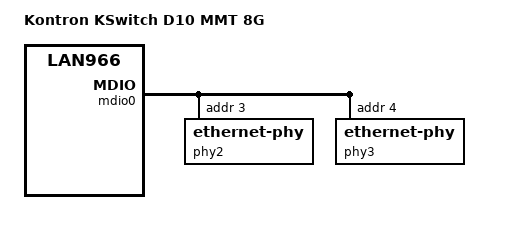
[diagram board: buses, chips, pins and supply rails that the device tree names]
// SPDX-License-Identifier: (GPL-2.0+ OR MIT)
/*
 * Device Tree file for the Kontron KSwitch D10 MMT 8G
 */

/dts-v1/;
#include "lan966x-kontron-kswitch-d10-mmt.dtsi"

/ {
	model = "Kontron KSwitch D10 MMT 8G";
	compatible = "kontron,kswitch-d10-mmt-8g", "kontron,s1921",
		     "microchip,lan9668", "microchip,lan966";
};

&mdio0 {
	phy2: ethernet-phy@3 {
		reg = <3>;
	};

	phy3: ethernet-phy@4 {
		reg = <4>;
	};
};

&port2 {
	phys = <&serdes 2 SERDES6G(0)>;
	phy-handle = <&phy2>;
	phy-mode = "sgmii";
	managed = "in-band-status";
	status = "okay";
};

&port3 {
	phys = <&serdes 3 SERDES6G(1)>;
	phy-handle = <&phy3>;
	phy-mode = "sgmii";
	managed = "in-band-status";
	status = "okay";
};
